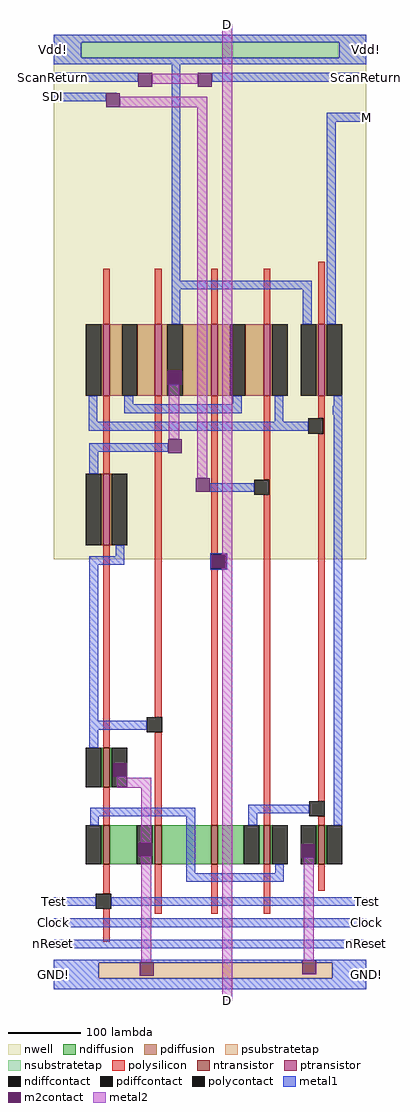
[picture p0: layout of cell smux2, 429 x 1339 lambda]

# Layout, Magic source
magic
tech tsmc180
<< nwell >>
rect 0 605 429 1324
<< polysilicon >>
rect 68 927 77 1003
rect 139 927 148 1003
rect 216 927 225 1003
rect 288 927 297 1003
rect 363 927 372 1013
rect 68 722 77 829
rect 68 346 77 624
rect 139 388 148 829
rect 216 612 225 829
rect 288 714 297 829
rect 363 798 372 829
rect 370 777 372 798
rect 296 693 297 714
rect 68 240 77 292
rect 139 240 148 367
rect 216 240 225 591
rect 288 240 297 693
rect 363 273 372 777
rect 363 240 372 252
rect 68 146 77 186
rect 68 80 77 125
rect 139 118 148 186
rect 216 118 225 186
rect 288 118 297 186
rect 363 150 372 186
<< ndiffusion >>
rect 65 292 68 346
rect 77 292 80 346
rect 65 186 68 240
rect 77 186 114 240
rect 135 186 139 240
rect 148 186 216 240
rect 225 186 261 240
rect 282 186 288 240
rect 297 186 300 240
rect 360 186 363 240
rect 372 186 375 240
<< pdiffusion >>
rect 65 829 68 927
rect 77 829 94 927
rect 115 829 139 927
rect 148 829 156 927
rect 177 829 216 927
rect 225 829 242 927
rect 263 829 288 927
rect 297 829 300 927
rect 360 829 363 927
rect 372 829 375 927
rect 65 624 68 722
rect 77 624 80 722
<< ntransistor >>
rect 68 292 77 346
rect 68 186 77 240
rect 139 186 148 240
rect 216 186 225 240
rect 288 186 297 240
rect 363 186 372 240
<< ptransistor >>
rect 68 829 77 927
rect 139 829 148 927
rect 216 829 225 927
rect 288 829 297 927
rect 363 829 372 927
rect 68 624 77 722
<< polycontact >>
rect 349 777 370 798
rect 275 693 296 714
rect 216 591 237 612
rect 128 367 149 388
rect 351 252 372 273
rect 58 125 79 146
<< ndiffcontact >>
rect 44 292 65 346
rect 80 292 101 346
rect 44 186 65 240
rect 114 186 135 240
rect 261 186 282 240
rect 300 186 321 240
rect 339 186 360 240
rect 375 186 396 240
<< pdiffcontact >>
rect 44 829 65 927
rect 94 829 115 927
rect 156 829 177 927
rect 242 829 263 927
rect 300 829 321 927
rect 339 829 360 927
rect 375 829 396 927
rect 44 624 65 722
rect 80 624 101 722
<< psubstratetap >>
rect 62 30 382 51
<< nsubstratetap >>
rect 38 1293 392 1314
<< metal1 >>
rect 0 1314 429 1324
rect 0 1293 38 1314
rect 392 1293 429 1314
rect 0 1284 429 1293
rect 0 1260 116 1272
rect 0 1244 86 1245
rect 0 1233 72 1244
rect 162 987 174 1284
rect 217 1260 429 1272
rect 375 1205 429 1217
rect 162 975 354 987
rect 162 927 174 975
rect 342 927 354 975
rect 375 927 387 1205
rect 48 793 60 829
rect 97 817 109 829
rect 246 817 258 829
rect 97 805 258 817
rect 303 793 315 829
rect 384 815 396 829
rect 383 803 396 815
rect 48 781 349 793
rect 49 752 157 764
rect 49 722 61 752
rect 214 697 275 709
rect 85 609 97 624
rect 49 597 97 609
rect 215 612 238 613
rect 49 383 61 597
rect 215 591 216 612
rect 237 591 238 612
rect 215 590 238 591
rect 49 371 128 383
rect 49 346 61 371
rect 50 252 194 264
rect 50 240 62 252
rect 182 174 194 252
rect 267 256 351 268
rect 267 240 279 256
rect 384 240 396 803
rect 304 174 316 186
rect 182 162 316 174
rect 0 129 58 141
rect 79 129 429 141
rect 0 100 429 112
rect 0 71 429 83
rect 0 54 429 55
rect 0 52 341 54
rect 0 51 118 52
rect 137 51 341 52
rect 360 51 429 54
rect 0 30 62 51
rect 382 30 429 51
rect 0 15 429 30
<< m2contact >>
rect 116 1253 135 1272
rect 72 1225 91 1244
rect 198 1253 217 1272
rect 156 844 175 863
rect 157 750 176 769
rect 195 697 214 716
rect 217 592 236 611
rect 82 306 101 325
rect 116 197 135 216
rect 340 195 359 214
rect 118 51 137 52
rect 341 51 360 54
rect 118 33 137 51
rect 341 35 360 51
<< metal2 >>
rect 135 1257 198 1271
rect 91 1225 211 1239
rect 158 769 172 844
rect 197 716 211 1225
rect 231 611 245 1339
rect 236 592 245 611
rect 87 305 101 306
rect 87 291 134 305
rect 120 216 134 291
rect 120 52 134 197
rect 231 0 245 592
rect 343 54 357 195
<< labels >>
rlabel metal1 0 1260 0 1272 3 ScanReturn
rlabel metal1 0 1233 0 1245 3 SDI
rlabel metal1 0 129 0 141 3 Test
rlabel metal1 0 100 0 112 3 Clock
rlabel metal1 0 71 0 83 3 nReset
rlabel metal2 231 1339 245 1339 5 D
rlabel metal2 231 0 245 0 1 D
rlabel metal1 429 1260 429 1272 7 ScanReturn
rlabel metal1 429 1205 429 1217 7 M
rlabel metal1 429 129 429 141 7 Test
rlabel metal1 429 100 429 112 7 Clock
rlabel metal1 429 71 429 83 7 nReset
rlabel metal1 0 15 0 55 3 GND!
rlabel metal1 429 15 429 55 7 GND!
rlabel metal1 0 1284 0 1324 3 Vdd!
rlabel metal1 429 1284 429 1324 7 Vdd!
<< end >>
